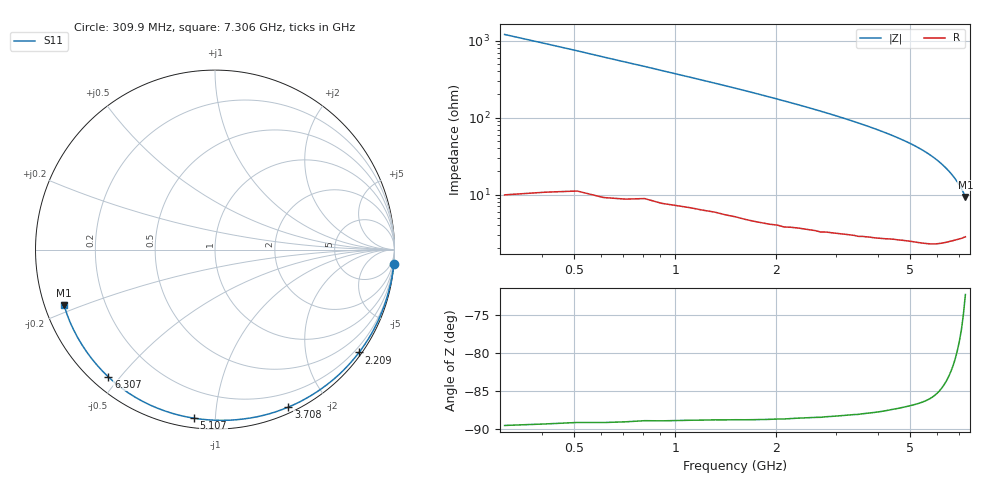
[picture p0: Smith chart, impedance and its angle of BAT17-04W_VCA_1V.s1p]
! Infineon Technologies  Discrete & RF Semiconductors
! BAT17-04W
! VCA = 1 V
! One-Port S-Parameters
# Hz  S  MA  R  50
!f  S11
!Hz  Mag  Ang
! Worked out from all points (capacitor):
!   71 points, 309.9 MHz to 7.306 GHz, reference 50 ohm
!   read as one part to ground: C = 423 fF near 309.9 MHz
!   lowest |Z| = 9.32 ohm at 7.306 GHz (marker M1)
!   S11 on the Smith chart (normalised r, x): 309.9 MHz: 0, -24; 2.209 GHz: 0.08, -3.12; 3.708 GHz: 0.06, -1.57; 5.107 GHz: 0.05, -0.88; 6.307 GHz: 0.05, -0.47; 7.306 GHz: 0.06, -0.18
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3.0985e8  0.9993 -4.7
7.0965e8  0.9969 -10.8
1.2094e9  0.9935 -18.6
1.50925e9  0.9916 -23.4
1.70915e9  0.9904 -26.8
2.10895e9  0.9873 -33.8
2.2089e9  0.9861 -35.5
2.6087e9  0.982 -42.9
3.0085e9  0.9773 -50.7
3.4083e9  0.972 -58.8
3.70815e9  0.9679 -65.1
3.8081e9  0.9664 -67.2
4.008e9  0.9636 -71.6
4.2079e9  0.9604 -76.0
4.50775e9  0.9553 -82.8
4.70765e9  0.9523 -87.5
4.90755e9  0.9493 -92.3
5.10745e9  0.9466 -97.2
5.4073e9  0.9427 -104.8
5.6072e9  0.9399 -110.1
5.90705e9  0.9349 -118.4
6.10695e9  0.9304 -124.1
6.30685e9  0.9253 -129.9
6.50675e9  0.9198 -135.7
6.70665e9  0.9141 -141.7
6.90655e9  0.9084 -147.6
7.10645e9  0.9029 -153.7
7.30635e9  0.8962 -159.8
